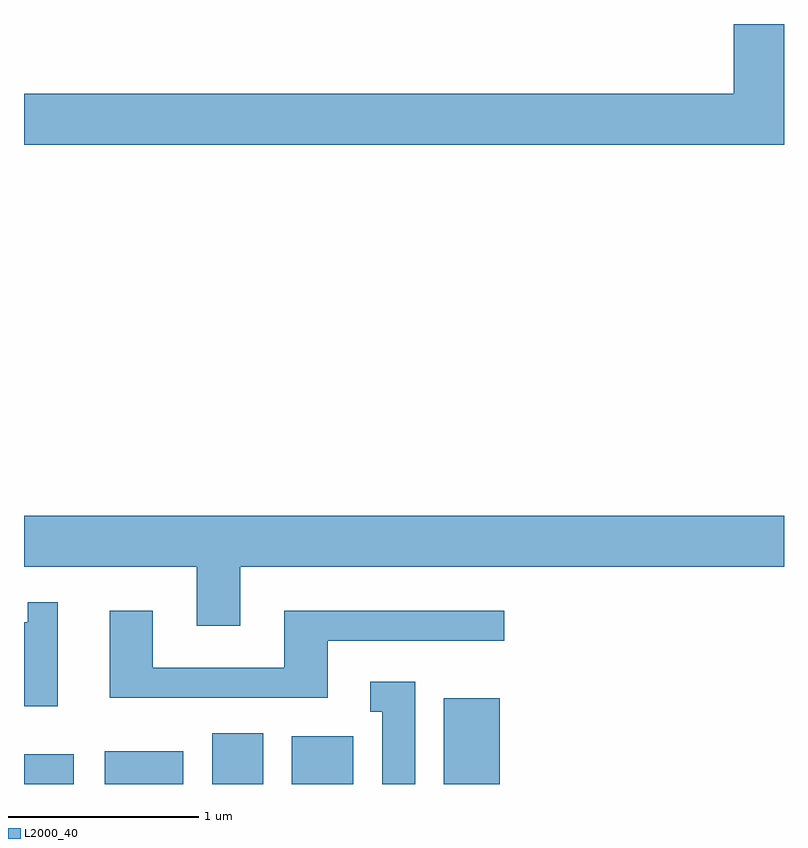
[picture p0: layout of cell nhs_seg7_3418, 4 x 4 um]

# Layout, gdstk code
import gdstk
lib = gdstk.Library(unit=1e-6, precision=1e-09)
def R(c, l, rs):  # rectangles x0, y0, x1, y1
    for r in rs: c.add(gdstk.rectangle(r[:2], r[2:], *l))
def P(c, l, *ps):  # polygons
    for p in ps: c.add(gdstk.Polygon(p, *l))
L2000_40 = (2000, 40)

nhs_seg7_3418 = lib.new_cell('nhs_seg7_3418')
R(nhs_seg7_3418, L2000_40, [(289.611,1744.252,289.874,1744.409), (290.036,1744.252,290.449,1744.424), (290.601,1744.252,290.869,1744.519), (291.021,1744.252,291.344,1744.504), (291.821,1744.252,292.114,1744.704)])
P(nhs_seg7_3418, L2000_40, [(293.611,1748.252),(293.346,1748.252),(293.346,1747.884),(289.611,1747.884),(289.611,1747.616),(293.611,1747.616)],
  [(290.749,1745.396),(293.611,1745.396),(293.611,1745.664),(289.611,1745.664),(289.611,1745.396),(290.521,1745.396),(290.521,1745.086),(290.749,1745.086)],
  [(289.789,1745.208),(289.631,1745.208),(289.631,1745.104),(289.611,1745.104),(289.611,1744.661),(289.789,1744.661)],
  [(291.209,1745.006),(292.138,1745.006),(292.138,1745.164),(290.981,1745.164),(290.981,1744.864),(290.289,1744.864),(290.289,1745.164),(290.061,1745.164),(290.061,1744.706),(291.209,1744.706)],
  [(291.669,1744.789),(291.433,1744.789),(291.433,1744.631),(291.496,1744.631),(291.496,1744.252),(291.669,1744.252)])

lib.write_gds('nhs_seg7_3418.gds')
